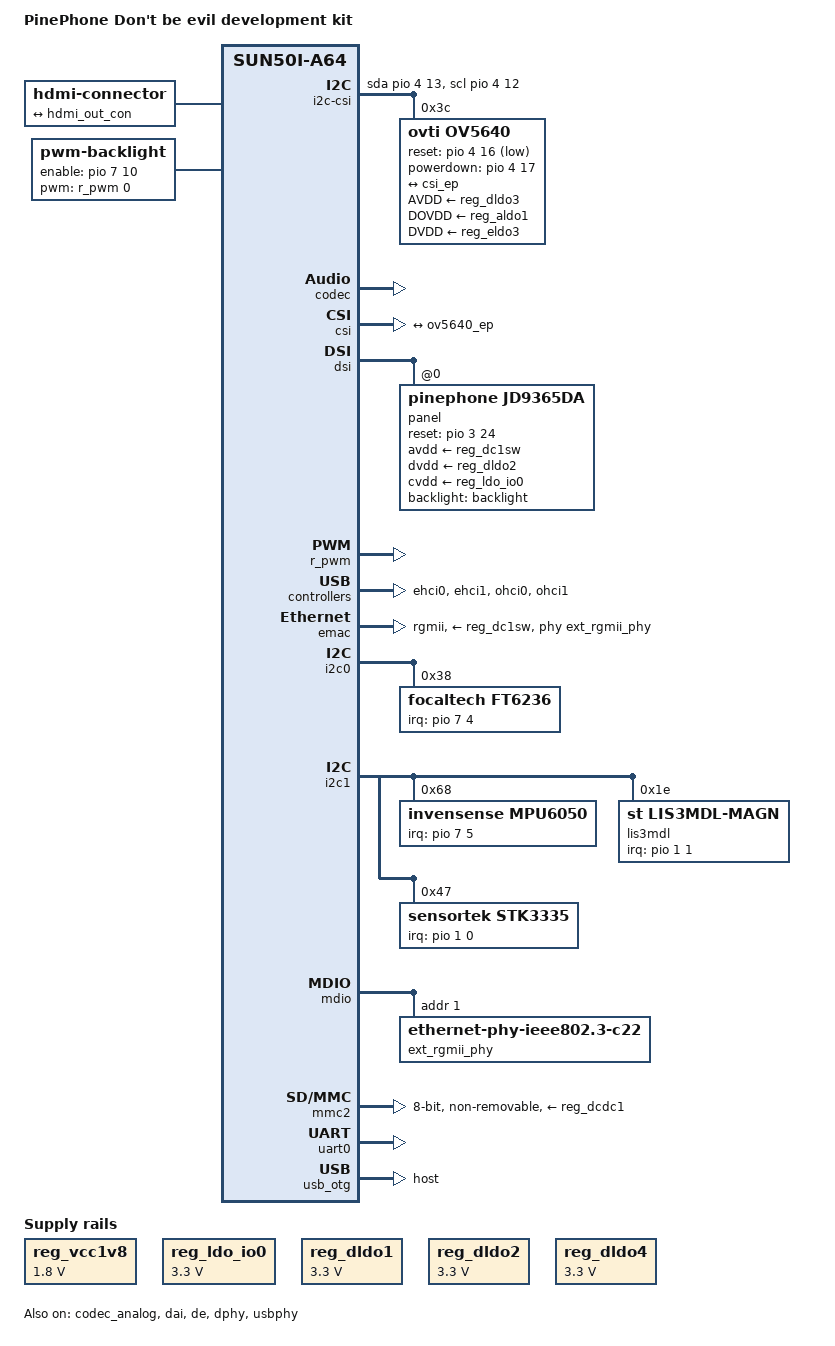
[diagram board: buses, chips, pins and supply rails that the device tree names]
/*
 * Copyright (c) 2017 Icenowy Zheng <icenowy@aosc.xyz>
 *
 * Based on sun50i-a64-pine64.dts, which is:
 *   Copyright (c) 2016 ARM Ltd.
 *
 * This file is dual-licensed: you can use it either under the terms
 * of the GPL or the X11 license, at your option. Note that this dual
 * licensing only applies to this file, and not this project as a
 * whole.
 *
 *  a) This library is free software; you can redistribute it and/or
 *     modify it under the terms of the GNU General Public License as
 *     published by the Free Software Foundation; either version 2 of the
 *     License, or (at your option) any later version.
 *
 *     This library is distributed in the hope that it will be useful,
 *     but WITHOUT ANY WARRANTY; without even the implied warranty of
 *     MERCHANTABILITY or FITNESS FOR A PARTICULAR PURPOSE.  See the
 *     GNU General Public License for more details.
 *
 * Or, alternatively,
 *
 *  b) Permission is hereby granted, free of charge, to any person
 *     obtaining a copy of this software and associated documentation
 *     files (the "Software"), to deal in the Software without
 *     restriction, including without limitation the rights to use,
 *     copy, modify, merge, publish, distribute, sublicense, and/or
 *     sell copies of the Software, and to permit persons to whom the
 *     Software is furnished to do so, subject to the following
 *     conditions:
 *
 *     The above copyright notice and this permission notice shall be
 *     included in all copies or substantial portions of the Software.
 *
 *     THE SOFTWARE IS PROVIDED "AS IS", WITHOUT WARRANTY OF ANY KIND,
 *     EXPRESS OR IMPLIED, INCLUDING BUT NOT LIMITED TO THE WARRANTIES
 *     OF MERCHANTABILITY, FITNESS FOR A PARTICULAR PURPOSE AND
 *     NONINFRINGEMENT. IN NO EVENT SHALL THE AUTHORS OR COPYRIGHT
 *     HOLDERS BE LIABLE FOR ANY CLAIM, DAMAGES OR OTHER LIABILITY,
 *     WHETHER IN AN ACTION OF CONTRACT, TORT OR OTHERWISE, ARISING
 *     FROM, OUT OF OR IN CONNECTION WITH THE SOFTWARE OR THE USE OR
 *     OTHER DEALINGS IN THE SOFTWARE.
 */

/dts-v1/;

#include "sun50i-a64-sopine.dtsi"
#include <dt-bindings/pwm/pwm.h>

/ {
	model = "PinePhone Don't be evil development kit";
	compatible = "pine64,sopine-baseboard", "pine64,sopine",
		     "allwinner,sun50i-a64";

	aliases {
		ethernet0 = &emac;
		serial0 = &uart0;
	};

	chosen {
		stdout-path = "serial0:115200n8";
	};

	i2c-csi {
		compatible = "i2c-gpio";
		sda-gpios = <&pio 4 13 GPIO_ACTIVE_HIGH>; /* CSI0-SDA: PE13 */
		scl-gpios = <&pio 4 12 GPIO_ACTIVE_HIGH>; /* CSI0-SCK: PE12 */
		i2c-gpio,delay-us = <5>;
		#address-cells = <1>;
		#size-cells = <0>;

		ov5640: camera@3c {
			compatible = "ovti,ov5640";
			reg = <0x3c>;
			pinctrl-names = "default";
			pinctrl-0 = <&csi_mclk_pin>;
			clocks = <&ccu CLK_CSI_MCLK>;
			clock-names = "xclk";

			AVDD-supply = <&reg_dldo3>;
			DOVDD-supply = <&reg_aldo1>;
			DVDD-supply = <&reg_eldo3>;
			reset-gpios = <&pio 4 16 GPIO_ACTIVE_LOW>; /* CSI0-RST: PE16 */
			powerdown-gpios = <&pio 4 17 GPIO_ACTIVE_HIGH>; /* CSI0-PWDN: PE17 */

			port {
				ov5640_ep: endpoint {
					remote-endpoint = <&csi_ep>;
					bus-width = <8>;
					hsync-active = <1>; /* Active high */
					vsync-active = <0>; /* Active low */
					data-active = <1>;  /* Active high */
					pclk-sample = <1>;  /* Rising */
				};
			};
		};
	};


	hdmi-connector {
		compatible = "hdmi-connector";
		type = "a";

		port {
			hdmi_con_in: endpoint {
				remote-endpoint = <&hdmi_out_con>;
			};
		};
	};

	reg_vcc1v8: vcc1v8 {
		compatible = "regulator-fixed";
		regulator-name = "vcc1v8";
		regulator-min-microvolt = <1800000>;
		regulator-max-microvolt = <1800000>;
	};

	backlight: backlight {
		compatible = "pwm-backlight";
		pwms = <&r_pwm 0 50000 PWM_POLARITY_INVERTED>;
		brightness-levels = <0 1 2 4 8 16 32 64 128 512>;
		default-brightness-level = <2>;
		enable-gpios = <&pio 7 10 GPIO_ACTIVE_HIGH>; /* LCD-BL-EN: PH10 */
	};
};

&ac_power_supply {
	status = "okay";
};

&battery_power_supply {
	status = "okay";
};

&codec {
	status = "okay";
};

&codec_analog {
	status = "okay";
};

&csi {
	status = "okay";

	port {
		#address-cells = <1>;
		#size-cells = <0>;

		csi_ep: endpoint {
			remote-endpoint = <&ov5640_ep>;
			bus-width = <8>;
			hsync-active = <1>; /* Active high */
			vsync-active = <0>; /* Active low */
			data-active = <1>;  /* Active high */
			pclk-sample = <1>;  /* Rising */
		};
	};
};

&dai {
	status = "okay";
};

&de {
	status = "okay";
};

&dphy {
	status = "okay";
};

&reg_ldo_io0 {
	regulator-min-microvolt = <3300000>;
	regulator-max-microvolt = <3300000>;
	regulator-name = "vcc-ctp";
	status = "okay";
};

&dsi {
	vcc-dsi-supply = <&reg_dldo1>;		/* VCC3V3-DSI */
	#address-cells = <1>;
	#size-cells = <0>;
	status = "okay";

	panel@0 {
		compatible = "pinephone,jd9365da";
		reg = <0>;
		avdd-supply = <&reg_dc1sw>;	/* VCC-LCD */
		dvdd-supply = <&reg_dldo2>;	/* VCC-MIPI */
		cvdd-supply = <&reg_ldo_io0>;			/* VCC-CTP: GPIO0-LDO */
		reset-gpios = <&pio 3 24 GPIO_ACTIVE_HIGH>; /* LCD-RST: PD24 */
		backlight = <&backlight>;
	};
};

&r_pwm {
	pinctrl-names = "default";
	pinctrl-0 = <&r_pwm_pin>;
	status = "okay";
};

&ehci0 {
	status = "okay";
};

&ehci1 {
	status = "okay";
};

&emac {
	pinctrl-names = "default";
	pinctrl-0 = <&rgmii_pins>;
	phy-mode = "rgmii";
	phy-handle = <&ext_rgmii_phy>;
	phy-supply = <&reg_dc1sw>;
	status = "okay";
};

&hdmi {
	hvcc-supply = <&reg_dldo1>;
	status = "disabled";
};

&hdmi_out {
	hdmi_out_con: endpoint {
		remote-endpoint = <&hdmi_con_in>;
	};
};



&i2c0 {
	pinctrl-names = "default";
	pinctrl-0 = <&i2c0_pins>;
	status = "okay";

	ft6236@38 {
		compatible = "focaltech,ft6236", "edt,edt-6236";
		reg = <0x38>;
		// pinctrl-names = "default";
		// pinctrl-0 = <&pinctrl_lcd_ctp_int>;

		interrupt-parent = <&pio>;
		interrupts = <7 4 IRQ_TYPE_EDGE_FALLING>;

		touchscreen-size-x = <720>;
		touchscreen-size-y = <1440>;
	};
};

&i2c1 {
	pinctrl-names = "default";
	pinctrl-0 = <&i2c1_pins>;
	status = "okay";

	mpu6050@68 {
		compatible = "invensense,mpu6050";
		reg = <0x68>;
		interrupt-parent = <&pio>;
		interrupts = <7 5 IRQ_TYPE_EDGE_FALLING>; /* PH5 */
		orientation = <0xff 0 0 0 1 0 0 0 0xff>;
	};

	lis3mdl@1e {
		compatible = "st,lis3mdl-magn";
		reg = <0x1e>;
		interrupt-parent = <&pio>;
		interrupts = <1 1 IRQ_TYPE_EDGE_FALLING>; /* PB1 */
	};

	stk3335@47 {
		compatible = "sensortek,STK3335";
		reg = <0x47>;
		interrupt-parent = <&pio>;
		interrupts = <1 0 IRQ_TYPE_EDGE_FALLING>; /* PB0 */
	};
};

&mdio {
	ext_rgmii_phy: ethernet-phy@1 {
		compatible = "ethernet-phy-ieee802.3-c22";
		reg = <1>;
	};
};

&mmc2 {
	pinctrl-names = "default";
	pinctrl-0 = <&mmc2_pins>;
	vmmc-supply = <&reg_dcdc1>;
	vqmmc-supply = <&reg_vcc1v8>;
	bus-width = <8>;
	non-removable;
	cap-mmc-hw-reset;
	status = "okay";
};

&ohci0 {
	status = "okay";
};

&ohci1 {
	status = "okay";
};

&reg_dc1sw {
	regulator-name = "vcc-lcd";
};

&reg_dldo1 {
	regulator-min-microvolt = <3300000>;
	regulator-max-microvolt = <3300000>;
	regulator-name = "vcc-hdmi";
};

&reg_dldo2 {
	regulator-min-microvolt = <3300000>;
	regulator-max-microvolt = <3300000>;
	regulator-name = "vcc-mipi";
};

&reg_dldo4 {
	regulator-min-microvolt = <3300000>;
	regulator-max-microvolt = <3300000>;
	regulator-name = "vcc-wifi";
};

&simplefb_hdmi {
	vcc-hdmi-supply = <&reg_dldo1>;
};

&sound {
	simple-audio-card,aux-devs = <&codec_analog>;
	simple-audio-card,widgets = "Microphone", "Microphone Jack",
				    "Headphone", "Headphone Jack";
	simple-audio-card,routing =
			"Left DAC", "AIF1 Slot 0 Left",
			"Right DAC", "AIF1 Slot 0 Right",
			"Headphone Jack", "HP",
			"AIF1 Slot 0 Left ADC", "Left ADC",
			"AIF1 Slot 0 Right ADC", "Right ADC",
			"MIC2", "Microphone Jack";
	status = "okay";
};

&uart0 {
	pinctrl-names = "default";
	pinctrl-0 = <&uart0_pb_pins>;
	status = "okay";
};

&usb_otg {
	dr_mode = "host";
	status = "okay";
};

&usbphy {
	status = "okay";
};

&tcon1 {
	status = "disabled";
};

&hdmi_phy {
	status = "disabled";
};
